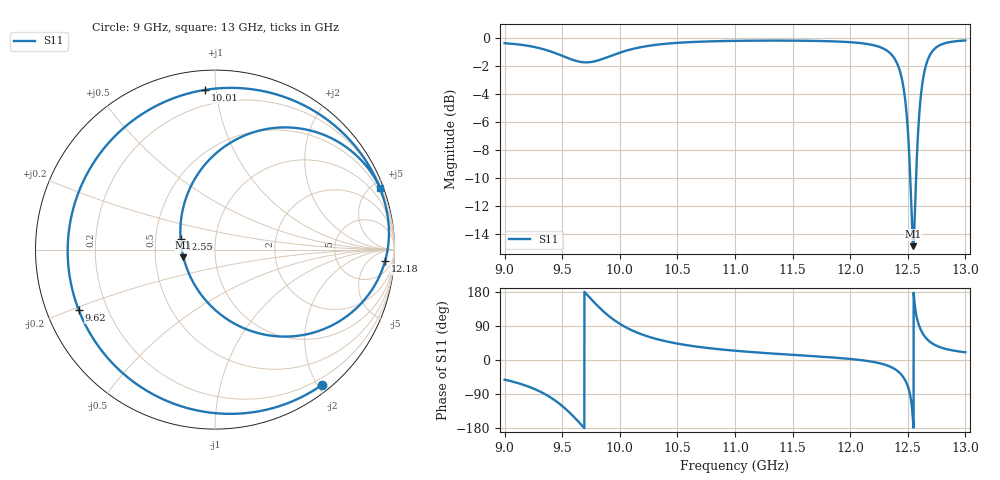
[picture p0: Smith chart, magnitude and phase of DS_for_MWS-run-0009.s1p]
! TOUCHSTONE file generated by CST DESIGN STUDIO
! Date and time: Tue Feb  4 16:38:46 2025
! Project name: C:\Work\MatlabApps\UnitCellOptimizationMatlab\CST\unitcell.cst
! Tree item: Tasks\Sweep1\SPara1\S-Parameters
! Header version: 2024
! Port assignment regex: !\s*Touchstone port\s*([0-9]+)\s*=\s*(CST MWS port|CST DES external port|CST DES block port)\s*(.+)\s* \(\"(.*)\"\)(\s*mode\s*([0-9]+))?.*
! Touchstone port assignment:
! Touchstone port 1 = CST DES external port 1 ("")
# GHz S MA R 50
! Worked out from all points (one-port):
!   4001 points, 9 GHz to 13 GHz, reference 50 ohm
!   lowest |S11| = -14.8 dB at 12.55 GHz (marker M1), VSWR 1.44, Z = 34.9 - j3.09 ohm
!   |S11| at or under -10 dB: 12.52141 GHz to 12.57144 GHz (50.02 MHz wide, 0.399 % of centre)
!   S11 on the Smith chart (normalised r, x): 9 GHz: 0.11, -2.05; 9.62 GHz: 0.10, -0.21; 10.01 GHz: 0.11, +0.93; 12.18 GHz: 14, -19; 12.55 GHz: 0.67, +0.08; 13 GHz: 0.28, +5.55
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9  0.9606 -51.8
9.17  0.945 -66.1
9.323  0.9178 -85.6
9.5  0.866 -121.3
9.62  0.8306 -156.0
9.693  0.8208 179.9
9.767  0.8252 155.5
9.88  0.8527 122.3
10  0.8888 95.5
10.01  0.8915 93.6
10.228  0.9369 63.6
10.5  0.9635 43.3
11  0.9794 24.5
11.5  0.9811 13.6
12  0.9686 2.8
12.177  0.9499 -3.8
12.307  0.9103 -12.9
12.389  0.8413 -24.2
12.447  0.7217 -39.6
12.5  0.4721 -69.1
12.523  0.3042 -96.4
12.547  0.1811 -166.3
12.555  0.201 162.7
12.6  0.5393 89.1
12.645  0.7629 62.9
12.698  0.88 46.7
12.765  0.9387 35.5
13  0.9826 20.4
